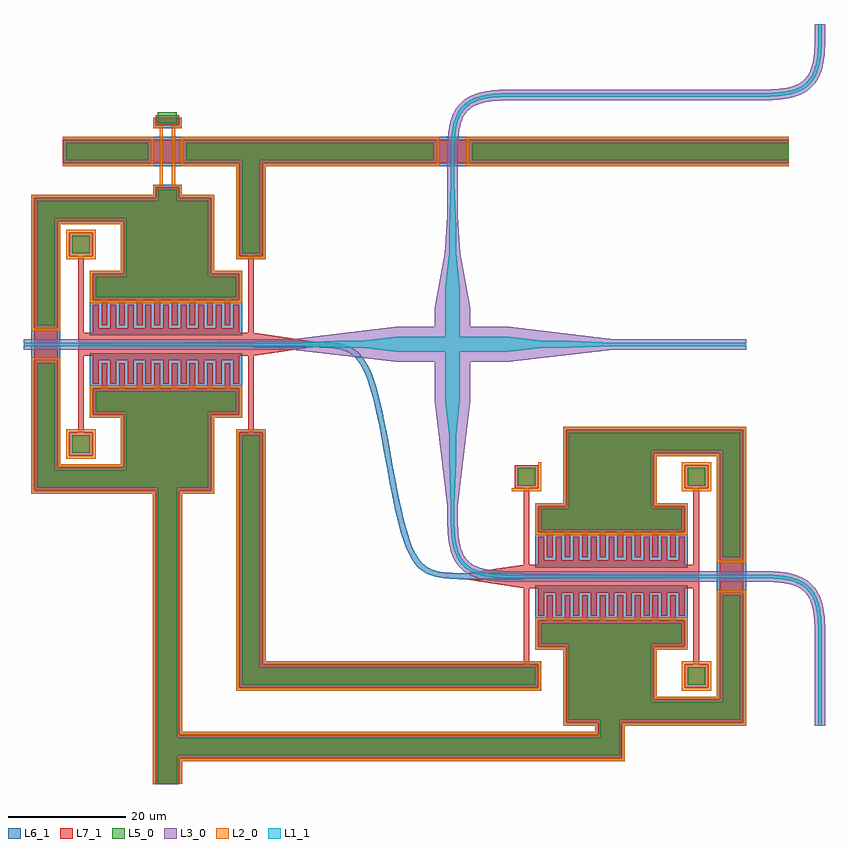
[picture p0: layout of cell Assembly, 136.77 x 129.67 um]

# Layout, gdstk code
from math import pi, radians
import gdstk
lib = gdstk.Library(unit=1e-6, precision=1e-09)
def R(c, l, rs):  # rectangles x0, y0, x1, y1
    for r in rs: c.add(gdstk.rectangle(r[:2], r[2:], *l))
def A(c, l, x, y, w, h, nx, ny, dx, dy):  # array of equal rectangles
    R(c, l, [(x+i*dx, y+j*dy, x+i*dx+w, y+j*dy+h) for i in range(nx) for j in range(ny)])
def P(c, l, *ps):  # polygons
    for p in ps: c.add(gdstk.Polygon(p, *l))
L1_1 = (1, 1)
L2_0 = (2, 0)
L3_0 = (3, 0)
L5_0 = (5, 0)
L6_1 = (6, 1)
L7_1 = (7, 1)

bridge_short = lib.new_cell('Bridge_Short')
P(bridge_short, L2_0, [(-46.704,49.897),(-46.704,54.897),(-46.204,54.897),(-46.204,50.397),(-42.204,50.397),(-42.204,54.897),(-41.704,54.897),(-41.704,49.897)],
  [(-46.704,40.397),(-46.704,45.397),(-41.704,45.397),(-41.704,40.397),(-42.204,40.397),(-42.204,44.897),(-46.204,44.897),(-46.204,40.397)])
R(bridge_short, L5_0, [(-45.704,39.397,-42.704,44.397), (-45.704,50.897,-42.704,55.897)])
R(bridge_short, L6_1, [(-46.704,40.396,-41.704,45.397), (-46.704,45.397,-41.704,49.897), (-46.704,49.897,-41.704,54.897)])
R(bridge_short, L7_1, [(-46.204,39.897,-42.204,44.897), (-46.204,44.897,-42.204,50.397), (-46.204,50.397,-42.204,55.397)])

couplerinlet = lib.new_cell('CouplerInlet')
P(couplerinlet, L6_1, [(-3.954,47.146),(-33.954,47.571),(-33.954,47.721),(-3.954,48.146)])
R(couplerinlet, L7_1, [(-33.954,45.646,-3.954,49.646)])

anchorbeam_l13w1 = lib.new_cell('AnchorBeam_L13W1')
P(anchorbeam_l13w1, L2_0, [(-35.954,28.146),(-35.954,33.146),(-30.954,33.146),(-30.954,28.146),(-35.454,28.146),(-35.454,28.646),(-31.454,28.646),(-31.454,32.646),(-35.454,32.646),(-35.454,28.146)])
R(anchorbeam_l13w1, L5_0, [(-34.954,29.146,-31.954,32.146)])
R(anchorbeam_l13w1, L7_1, [(-35.454,28.646,-31.454,32.646), (-33.954,32.646,-32.954,45.646)])

anchoredcouplerinlet_woc = lib.new_cell('AnchoredCouplerInlet_woComb')
P(anchoredcouplerinlet_woc, L2_0, [(-6.954,62.146),(-6.954,67.146),(-6.454,67.146),(-6.454,62.646),(-1.954,62.646),(-1.954,62.146)],
  [(-6.954,28.146),(-6.954,33.146),(-1.954,33.146),(-2.454,32.646),(-6.454,32.646),(-6.454,28.646)])
R(anchoredcouplerinlet_woc, L5_0, [(-5.954,29.146,-2.954,32.146), (-5.954,63.146,-2.954,66.146)])
R(anchoredcouplerinlet_woc, L7_1, [(-6.454,28.646,-2.454,32.646), (-4.954,32.646,-3.954,45.646), (-4.954,49.646,-3.954,62.646), (-6.454,62.646,-2.454,66.646)])
anchoredcouplerinlet_woc.add(gdstk.Reference(couplerinlet, (0,0)))
anchoredcouplerinlet_woc.add(gdstk.Reference(anchorbeam_l13w1, (-66.908,95.292), rotation=pi))
anchoredcouplerinlet_woc.add(gdstk.Reference(anchorbeam_l13w1, (0,0)))

electrodeturn = lib.new_cell('ElectrodeTurn')
R(electrodeturn, L2_0, [(-41.954,54.896,-41.454,68.146), (-37.454,54.896,-36.954,68.146), (-26.704,59.646,-26.204,68.646), (-37.454,68.146,-26.704,68.646), (-26.704,72.646,-20.704,73.146)])
P(electrodeturn, L2_0, [(-41.954,68.146),(-41.954,73.146),(-26.704,73.146),(-26.704,72.646),(-41.454,72.646),(-41.454,68.146)],
  [(-11.204,59.646),(-11.204,72.646),(-16.704,72.646),(-16.704,73.146),(-10.704,73.146),(-10.704,59.646)])
R(electrodeturn, L5_0, [(-40.954,55.896,-37.954,69.146), (-25.704,59.146,-11.704,72.146), (-40.954,69.146,-25.704,72.146)])
R(electrodeturn, L6_1, [(-41.954,54.896,-36.954,68.146), (-26.704,59.146,-10.704,73.146), (-41.954,68.146,-26.704,73.146)])
R(electrodeturn, L7_1, [(-41.454,55.396,-37.454,68.646), (-26.204,59.646,-11.204,72.646), (-41.454,68.646,-26.204,72.646)])

combelectrode = lib.new_cell('CombElectrode')
R(combelectrode, L2_0, [(-41.954,54.867,-41.454,54.938)])
combelectrode.add(gdstk.Reference(electrodeturn, (0,0.001)))
combelectrode.add(gdstk.Reference(electrodeturn, (0,95.293), x_reflection=True))
combelectrode.add(gdstk.Reference(bridge_short, (4.75,0)))

comb_l4w1_g500_d500_stop = lib.new_cell('Comb_L4W1_G500_D500_StoppersCent')
P(comb_l4w1_g500_d500_stop, L2_0, [(214.141,5.825),(214.141,11.325),(219.891,11.325),(219.891,10.825),(214.641,10.825),(214.641,6.325),(239.641,6.325),(239.641,10.825),(234.891,10.825),(234.891,11.325),(240.141,11.325),(240.141,5.825)])
R(comb_l4w1_g500_d500_stop, L5_0, [(215.141,6.825,239.141,10.325)])
R(comb_l4w1_g500_d500_stop, L6_1, [(214.141,0.325,240.141,11.325)])
A(comb_l4w1_g500_d500_stop, L7_1, 214.641, 0.825, 1, 1.3, 9, 1, 3, 0)
A(comb_l4w1_g500_d500_stop, L7_1, 214.641, 1.575, 1, 4, 9, 1, 3, 0)
A(comb_l4w1_g500_d500_stop, L7_1, 216.141, 2.075, 1, 4.25, 8, 1, 3, 0)
R(comb_l4w1_g500_d500_stop, L7_1, [(214.641,0.825,239.641,1.575), (214.641,6.325,239.641,10.825)])

actuator_stopperscenter = lib.new_cell('Actuator_StoppersCenter')
actuator_stopperscenter.add(gdstk.Reference(anchoredcouplerinlet_woc, (0,0)))
actuator_stopperscenter.add(gdstk.Reference(combelectrode, (0,-0.001)))
actuator_stopperscenter.add(gdstk.Reference(comb_l4w1_g500_d500_stop, (-246.095,48.821)))
actuator_stopperscenter.add(gdstk.Reference(comb_l4w1_g500_d500_stop, (-246.095,46.471), x_reflection=True))

sigmoidcouplersigmoidcou = lib.new_cell('SigmoidCouplerSigmoidCoupler_v4_')
sigmoidcouplersigmoidcou.add(gdstk.FlexPath([(-23,39.607),(-20.677,39.607),(-20.212,39.606),(-18.354,39.606),(-17.889,39.605),(-17.424,39.605),(-16.96,39.604),(-16.03,39.602),(-15.566,39.6),(-15.101,39.598),(-14.636,39.595),(-14.172,39.592),(-13.707,39.588),(-13.242,39.582),(-12.778,39.574),(-12.313,39.565),(-11.848,39.553),(-11.384,39.537),(-10.919,39.516),(-10.455,39.489),(-9.99,39.454),(-9.525,39.41),(-9.061,39.352),(-8.596,39.277),(-8.131,39.181),(-7.667,39.057),(-7.202,38.898),(-6.737,38.693),(-6.273,38.432),(-5.808,38.099),(-5.343,37.676),(-4.879,37.142),(-4.414,36.473),(-3.949,35.642),(-3.485,34.62),(-3.02,33.381),(-2.556,31.903),(-2.091,30.172),(-1.626,28.193),(-1.162,25.985),(-0.697,23.593),(-0.232,21.081),(0.232,18.526),(0.697,16.014),(1.162,13.622),(1.626,11.414),(2.091,9.435),(2.556,7.704),(3.02,6.226),(3.485,4.987),(3.949,3.965),(4.414,3.134),(4.879,2.465),(5.343,1.931),(5.808,1.508),(6.273,1.175),(6.737,0.914),(7.202,0.709),(7.667,0.55),(8.131,0.426),(8.596,0.33),(9.061,0.255),(9.525,0.197),(9.99,0.153),(10.455,0.118),(10.919,0.091),(11.384,0.07),(11.848,0.054),(12.313,0.042),(12.778,0.033),(13.242,0.025),(13.707,0.019),(14.172,0.015),(14.636,0.012),(15.101,0.009),(15.566,0.007),(16.03,0.005),(16.96,0.003),(17.424,0.002),(17.889,0.002),(18.354,0.001),(20.212,0.001),(20.677,0),(23,0)], 1, ends="flush", simple_path=True, layer=6, datatype=1))  # L6_1

couplerbody = lib.new_cell('CouplerBody')
couplerbody.add(gdstk.Reference(sigmoidcouplersigmoidcou, (-23,0.5)))

sigmoid_coupler_wcomb_wa = lib.new_cell('Sigmoid_Coupler_wComb_wAnchors')
P(sigmoid_coupler_wcomb_wa, L7_1, [(-84,63.107),(-84,64.607),(-74,64.607)],
  [(-84,65.607),(-84,67.107),(-74,65.607)],
  [(-38,23.5),(-48,25),(-38,25)],
  [(-48,26),(-38,27.5),(-38,26)])
sigmoid_coupler_wcomb_wa.add(gdstk.Reference(actuator_stopperscenter, (-41.954,-22.146), rotation=pi, x_reflection=True))
sigmoid_coupler_wcomb_wa.add(gdstk.Reference(couplerbody, (-38,25)))
sigmoid_coupler_wcomb_wa.add(gdstk.Reference(actuator_stopperscenter, (-80.046,17.461)))

bend90sine600_r005000nm_ = lib.new_cell('Bend90Sine600_R005000nm_Off1000n')
bend90sine600_r005000nm_.add(gdstk.FlexPath([(0,-12.107),(0,-10.538),(0.002,-9.97),(0.005,-9.688),(0.008,-9.407),(0.013,-9.127),(0.02,-8.848),(0.028,-8.572),(0.038,-8.297),(0.051,-8.025),(0.066,-7.755),(0.083,-7.488),(0.104,-7.224),(0.128,-6.963),(0.154,-6.705),(0.185,-6.45),(0.219,-6.2),(0.256,-5.952),(0.298,-5.709),(0.344,-5.47),(0.394,-5.236),(0.449,-5.006),(0.508,-4.78),(0.572,-4.559),(0.641,-4.343),(0.714,-4.132),(0.793,-3.926),(0.877,-3.725),(0.966,-3.529),(1.061,-3.339),(1.161,-3.154),(1.266,-2.975),(1.378,-2.802),(1.494,-2.633),(1.617,-2.471),(1.745,-2.314),(1.879,-2.163),(2.018,-2.018),(2.163,-1.879),(2.314,-1.745),(2.471,-1.617),(2.633,-1.494),(2.802,-1.378),(2.975,-1.266),(3.154,-1.161),(3.339,-1.061),(3.529,-0.966),(3.725,-0.877),(3.926,-0.793),(4.132,-0.714),(4.343,-0.641),(4.559,-0.572),(4.78,-0.508),(5.006,-0.449),(5.236,-0.394),(5.47,-0.344),(5.709,-0.298),(5.952,-0.256),(6.2,-0.219),(6.45,-0.185),(6.705,-0.154),(6.963,-0.128),(7.224,-0.104),(7.488,-0.083),(7.755,-0.066),(8.025,-0.051),(8.297,-0.038),(8.572,-0.028),(8.848,-0.02),(9.127,-0.013),(9.407,-0.008),(9.688,-0.005),(9.97,-0.002),(10.538,0),(12.107,0)], 0.6, ends="flush", simple_path=True, layer=1, datatype=1))  # L1_1
bend90sine600_r005000nm_.add(gdstk.FlexPath([(0,-12.107),(0,-10.538),(0.002,-9.97),(0.005,-9.688),(0.008,-9.407),(0.013,-9.127),(0.02,-8.848),(0.028,-8.572),(0.038,-8.297),(0.051,-8.025),(0.066,-7.755),(0.083,-7.488),(0.104,-7.224),(0.128,-6.963),(0.154,-6.705),(0.185,-6.45),(0.219,-6.2),(0.256,-5.952),(0.298,-5.709),(0.344,-5.47),(0.394,-5.236),(0.449,-5.006),(0.508,-4.78),(0.572,-4.559),(0.641,-4.343),(0.714,-4.132),(0.793,-3.926),(0.877,-3.725),(0.966,-3.529),(1.061,-3.339),(1.161,-3.154),(1.266,-2.975),(1.378,-2.802),(1.494,-2.633),(1.617,-2.471),(1.745,-2.314),(1.879,-2.163),(2.018,-2.018),(2.163,-1.879),(2.314,-1.745),(2.471,-1.617),(2.633,-1.494),(2.802,-1.378),(2.975,-1.266),(3.154,-1.161),(3.339,-1.061),(3.529,-0.966),(3.725,-0.877),(3.926,-0.793),(4.132,-0.714),(4.343,-0.641),(4.559,-0.572),(4.78,-0.508),(5.006,-0.449),(5.236,-0.394),(5.47,-0.344),(5.709,-0.298),(5.952,-0.256),(6.2,-0.219),(6.45,-0.185),(6.705,-0.154),(6.963,-0.128),(7.224,-0.104),(7.488,-0.083),(7.755,-0.066),(8.025,-0.051),(8.297,-0.038),(8.572,-0.028),(8.848,-0.02),(9.127,-0.013),(9.407,-0.008),(9.688,-0.005),(9.97,-0.002),(10.538,0),(12.107,0)], 1.8, ends="flush", simple_path=True, layer=3, datatype=0))  # L3_0

bottomwaveguide = lib.new_cell('BottomWaveguide')
R(bottomwaveguide, L1_1, [(-22.393,-70.34,16.089,-69.74), (-35.1,-50.433,-33.9,-45.933), (-35.75,-40.183,-33.25,-20.683), (-44.25,-31.683,-24.75,-29.183), (-54.5,-31.033,-50,-29.833), (-19,-31.033,-14.5,-29.833), (-107.672,-30.733,-69,-30.133), (-69,-30.733,-62,-30.133), (-7,-30.733,0,-30.133), (-35.1,-14.933,-33.9,-10.433), (-34.8,-8.454,-34.2,0), (-22.393,11.807,16.089,12.407)])
P(bottomwaveguide, L1_1, [(-34.8,-57.933),(-35.1,-50.433),(-33.9,-50.433),(-34.2,-57.933)],
  [(-35.1,-45.933),(-35.75,-40.183),(-33.25,-40.183),(-33.9,-45.933)],
  [(-24.75,-31.683),(-24.75,-29.183),(-19,-29.833),(-19,-31.033)],
  [(-14.5,-31.033),(-14.5,-29.833),(-7,-30.133),(-7,-30.733)],
  [(-54.5,-31.033),(-62,-30.733),(-62,-30.133),(-54.5,-29.833)],
  [(-35.75,-20.683),(-35.1,-14.933),(-33.9,-14.933),(-33.25,-20.683)],
  [(-35.1,-10.433),(-34.8,-2.933),(-34.2,-2.933),(-33.9,-10.433)],
  [(-44.25,-31.683),(-50,-31.033),(-50,-29.833),(-44.25,-29.183)])
R(bottomwaveguide, L3_0, [(-22.393,-70.94,16.089,-69.14), (-37.5,-40.183,-31.5,-24.167), (-44.25,-33.433,-24.75,-27.433), (-107.672,-31.333,-69,-29.533), (-69,-31.333,-62,-29.533), (-7,-31.333,0,-29.533), (-35.4,-8.478,-33.6,0), (-22.393,11.207,16.089,13.007)])
P(bottomwaveguide, L3_0, [(-35.4,-57.933),(-37.5,-40.183),(-31.5,-40.183),(-33.6,-57.933)],
  [(-44.25,-33.433),(-62,-31.333),(-62,-29.533),(-44.25,-27.433)],
  [(-24.75,-33.433),(-24.75,-27.433),(-7,-29.533),(-7,-31.333)],
  [(-35.8,-14.933),(-35.4,-8.478),(-33.6,-8.478),(-33.2,-14.933)],
  [(-37.5,-24.167),(-35.8,-14.933),(-33.2,-14.933),(-31.5,-24.167)])
bottomwaveguide.add(gdstk.Reference(bend90sine600_r005000nm_, (28.196,12.107), rotation=pi))
bottomwaveguide.add(gdstk.Reference(bend90sine600_r005000nm_, (28.196,-70.04), rotation=3*pi/2))
bottomwaveguide.add(gdstk.Reference(bend90sine600_r005000nm_, (-34.5,12.107), rotation=3*pi/2, x_reflection=True))
bottomwaveguide.add(gdstk.Reference(bend90sine600_r005000nm_, (-34.5,-70.04), rotation=pi/2))

assembly = lib.new_cell('Assembly')
R(assembly, L1_1, [(-1.2,-119.749,-0.6,-106.361), (-29.096,-54.947,-13.489,-54.347)])
R(assembly, L2_0, [(-114.743,-129.669,-114.239,-125.794), (-110.239,-129.657,-109.705,-125.794), (-114.743,-125.794,-114.239,-80.142), (-110.239,-125.794,-73.6,-125.294), (-73.6,-125.794,-51.989,-125.294), (-51.989,-125.794,-38.739,-125.294), (-38.739,-125.794,-34.739,-125.294), (-34.739,-125.794,-34.229,-121.817), (-34.739,-121.817,-34.229,-119.749), (-110.239,-121.294,-81.239,-120.794), (-81.239,-121.294,-73.6,-120.794), (-73.6,-121.294,-51.989,-120.794), (-51.989,-121.294,-38.739,-120.794), (-39.243,-121.294,-38.739,-119.749), (-110.239,-120.794,-109.729,-82.21), (-100.489,-113.749,-99.989,-108.503), (-99.989,-113.749,-88.35,-113.249), (-88.35,-113.749,-66.739,-113.249), (-66.739,-113.749,-53.489,-113.249), (-95.989,-109.249,-88.35,-108.749), (-88.35,-109.249,-66.739,-108.749), (-66.739,-109.249,-53.489,-108.749), (-95.989,-108.749,-95.489,-108.503), (-100.489,-108.503,-99.989,-86.892), (-95.989,-108.503,-95.489,-86.892), (-100.489,-86.892,-99.989,-73.642), (-95.989,-86.892,-95.489,-73.642), (-110.239,-82.21,-109.729,-80.142), (-38.739,-69.249,-34.739,-68.749), (-95.989,-39.642,-95.489,-23.76), (-100.489,-38.142,-99.989,-23.76), (-114.692,-29.142,-114.239,-27.882), (-110.239,-29.142,-109.833,-27.882), (-114.692,-27.882,-113.004,-27.395), (-111.472,-27.882,-109.833,-27.395), (-113.563,-27.395,-113.004,-17.784), (-111.472,-27.395,-110.926,-17.749), (-104.58,-25.144,-104.569,-25.126), (-130.068,-24.264,-119.517,-23.764), (-105.017,-24.264,-100.489,-23.76), (-95.489,-24.26,-70.768,-23.764), (-56.268,-24.26,-45.717,-23.76), (-45.717,-24.26,-6.238,-23.76), (-130.068,-19.764,-119.517,-19.264), (-105.017,-19.76,-70.768,-19.264), (-56.268,-19.76,-45.717,-19.26), (-45.717,-19.76,-6.238,-19.26), (-114.643,-17.784,-113.004,-17.297), (-111.472,-17.784,-109.784,-17.297), (-114.643,-17.297,-114.237,-16.037), (-110.237,-17.297,-109.784,-16.037)])
P(assembly, L2_0, [(-53.489,-109.249),(-53.489,-108.749),(-52.989,-109.249)],
  [(-53.489,-113.749),(-53.489,-113.249),(-48.989,-113.249),(-48.489,-113.749)],
  [(-95.989,-73.642),(-95.989,-69.642),(-95.489,-69.142),(-95.489,-73.642)])
R(assembly, L3_0, [(-1.8,-119.749,0,-106.361), (-29.096,-55.547,-13.489,-53.747)])
R(assembly, L5_0, [(-113.911,-129.669,-110.573,-79.142), (-113.911,-124.794,-38.411,-121.794), (-38.411,-124.794,-35.073,-118.749), (-99.489,-112.749,-96.489,-72.642), (-99.489,-112.749,-52.489,-109.749), (-99.489,-39.142,-96.489,-23.264), (-113.836,-30.142,-110.617,-28.274), (-129.506,-23.264,-120.517,-20.264), (-104.017,-23.264,-71.268,-20.264), (-55.268,-23.26,-6.238,-20.26), (-113.859,-16.905,-110.64,-15.037)])
R(assembly, L6_1, [(-100.489,-113.749,-95.489,-69.142), (-95.489,-113.749,-48.489,-108.749), (-114.692,-29.142,-109.833,-27.395), (-130.068,-24.264,-119.517,-19.264), (-56.267,-24.26,-45.717,-19.26), (-45.717,-24.26,-6.238,-19.26), (-114.643,-17.784,-109.784,-16.037)])
P(assembly, L6_1, [(-114.743,-129.669),(-114.743,-80.142),(-109.729,-80.142),(-109.729,-120.794),(-39.243,-120.794),(-39.243,-119.749),(-34.229,-119.749),(-34.229,-125.794),(-109.705,-125.794),(-109.705,-129.657)],
  [(-100.489,-40.142),(-100.489,-24.264),(-105.017,-24.264),(-105.017,-19.264),(-70.768,-19.26),(-70.768,-24.26),(-95.489,-24.26),(-95.489,-40.142)])
R(assembly, L7_1, [(-114.239,-129.669,-110.239,-79.642), (-113.911,-125.294,-38.739,-121.294), (-38.739,-125.294,-34.739,-119.249), (-99.989,-113.249,-95.989,-73.142), (-99.489,-113.249,-52.989,-109.249), (-99.989,-38.642,-95.989,-23.76), (-114.239,-29.642,-110.239,-27.882), (-130.068,-23.764,-120.017,-19.764), (-104.517,-23.76,-71.268,-19.764), (-55.768,-23.76,-6.238,-19.76), (-114.237,-17.297,-110.237,-15.537)])
assembly.add(gdstk.Reference(bridge_short, (-15.871,22.444), rotation=pi/2))
assembly.add(gdstk.Reference(bridge_short, (-64.62,22.44), rotation=pi/2))
assembly.add(gdstk.Reference(sigmoid_coupler_wcomb_wa, (-13.489,-119.749)))
assembly.add(gdstk.Reference(bottomwaveguide, (-29.096,-24.214)))

lib.write_gds('Assembly.gds')
